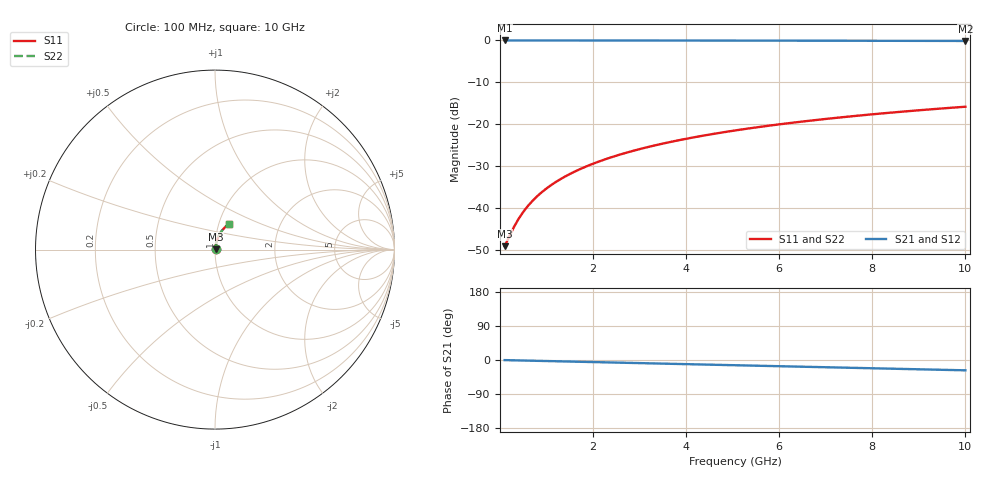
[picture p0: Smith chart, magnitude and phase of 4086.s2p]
# Hz S RI R 50.00
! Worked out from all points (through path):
!   100 points, 100 MHz to 10 GHz, reference 50 ohm
!   highest |S21| = -0.03 dB at 100 MHz (marker M1); lowest = -0.1 dB at 10 GHz (marker M2)
!   group delay of S21, straight-line fit = 7.57 ps
!   lowest |S11| = -49.1 dB at 100 MHz (marker M3), VSWR 1.01, Z = 50.3 + j0.168 ohm
!   |S11| at or under -10 dB: start of sweep to end of sweep
!   |S22| runs from -49.1 to -15.8 dB; largest |S21 - S12| = 0
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1e8  0.00309 0.00167  0.9969 -0.00475  0.9969 -0.00475  0.00309 0.00167
3e8  0.00319 0.00501  0.9968 -0.0143  0.9968 -0.0143  0.00319 0.00501
4e8  0.00325 0.00668  0.9967 -0.019  0.9967 -0.019  0.00325 0.00668
5e8  0.00334 0.00835  0.9965 -0.0238  0.9965 -0.0238  0.00334 0.00835
6e8  0.00343 0.01  0.9964 -0.0285  0.9964 -0.0285  0.00343 0.01
7e8  0.00354 0.0117  0.9962 -0.0333  0.9962 -0.0333  0.00354 0.0117
8e8  0.00367 0.0133  0.996 -0.038  0.996 -0.038  0.00367 0.0133
9e8  0.00381 0.015  0.9958 -0.0428  0.9958 -0.0428  0.00381 0.015
1e9  0.00397 0.0167  0.9955 -0.0475  0.9955 -0.0475  0.00397 0.0167
1.2e9  0.00433 0.02  0.995 -0.057  0.995 -0.057  0.00433 0.02
1.5e9  0.00498 0.025  0.9939 -0.0712  0.9939 -0.0712  0.00498 0.025
1.8e9  0.00578 0.0299  0.9926 -0.0854  0.9926 -0.0854  0.00578 0.0299
2.1e9  0.00672 0.0348  0.9911 -0.0996  0.9911 -0.0996  0.00672 0.0348
2.5e9  0.00818 0.0413  0.9888 -0.1184  0.9888 -0.1184  0.00818 0.0413
2.9e9  0.0099 0.0478  0.986 -0.1372  0.986 -0.1372  0.0099 0.0478
3.4e9  0.0124 0.0557  0.982 -0.1606  0.982 -0.1606  0.0124 0.0557
4.2e9  0.0171 0.0682  0.9743 -0.1977  0.9743 -0.1977  0.0171 0.0682
5.1e9  0.0236 0.0817  0.9638 -0.239  0.9638 -0.239  0.0236 0.0817
5.9e9  0.0303 0.0932  0.9528 -0.2751  0.9528 -0.2751  0.0303 0.0932
6.7e9  0.0378 0.1041  0.9404 -0.3107  0.9404 -0.3107  0.0378 0.1041
8.4e9  0.0564 0.1253  0.9092 -0.3841  0.9092 -0.3841  0.0564 0.1253
1e10  0.0767 0.1422  0.8743 -0.45  0.8743 -0.45  0.0767 0.1422
